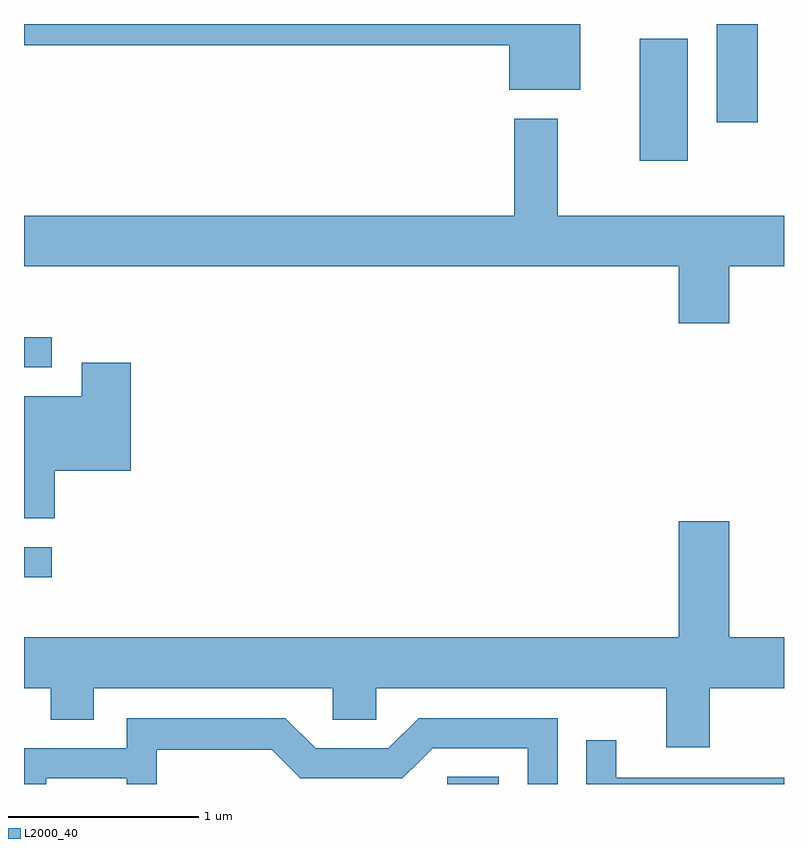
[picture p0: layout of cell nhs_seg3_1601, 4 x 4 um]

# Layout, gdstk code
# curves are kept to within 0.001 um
import gdstk
lib = gdstk.Library(unit=1e-6, precision=1e-09)
def R(c, l, rs):  # rectangles x0, y0, x1, y1
    for r in rs: c.add(gdstk.rectangle(r[:2], r[2:], *l))
def P(c, l, *ps):  # polygons
    for p in ps: c.add(gdstk.Polygon(p, *l))
L2000_40 = (2000, 40)

nhs_seg3_1601 = lib.new_cell('nhs_seg3_1601')
R(nhs_seg3_1601, L2000_40, [(233.838,1189.892,234.109,1189.929), (231.611,1190.981,231.758,1191.139), (231.611,1192.086,231.758,1192.244), (234.851,1193.171,235.104,1193.814), (235.256,1193.376,235.474,1193.892)])
P(nhs_seg3_1601, L2000_40, [(234.539,1193.892),(231.611,1193.892),(231.611,1193.781),(234.166,1193.781),(234.166,1193.546),(234.539,1193.546)],
  [(235.056,1192.316),(235.324,1192.316),(235.324,1192.616),(235.611,1192.616),(235.611,1192.884),(234.419,1192.884),(234.419,1193.394),(234.191,1193.394),(234.191,1192.884),(231.611,1192.884),(231.611,1192.616),(235.056,1192.616)],
  [(231.774,1191.541),(232.174,1191.541),(232.174,1192.109),(231.916,1192.109),(231.916,1191.934),(231.611,1191.934),(231.611,1191.291),(231.774,1191.291)],
  [(231.611,1190.396),(231.751,1190.396),(231.751,1190.231),(231.979,1190.231),(231.979,1190.396),(233.236,1190.396),(233.236,1190.231),(233.464,1190.231),(233.464,1190.396),(234.991,1190.396),(234.991,1190.086),(235.219,1190.086),(235.219,1190.396),(235.611,1190.396),(235.611,1190.664),(235.324,1190.664),(235.324,1191.274),(235.056,1191.274),(235.056,1190.664),(231.611,1190.664)],
  [(231.729,1189.921),(232.151,1189.921),(232.151,1189.892),(232.309,1189.892),(232.309,1190.071),(232.914,1190.071),(233.064,1189.921),(233.602,1189.921),(233.762,1190.081),(234.261,1190.081),(234.261,1189.892),(234.419,1189.892),(234.419,1190.239),(233.689,1190.239),(233.529,1190.079),(233.147,1190.079),(232.987,1190.239),(232.151,1190.239),(232.151,1190.079),(231.611,1190.079),(231.611,1189.892),(231.729,1189.892)],
  [(235.611,1189.924),(234.729,1189.924),(234.729,1190.123),(234.571,1190.123),(234.571,1189.892),(235.611,1189.892)])

lib.write_gds('nhs_seg3_1601.gds')
